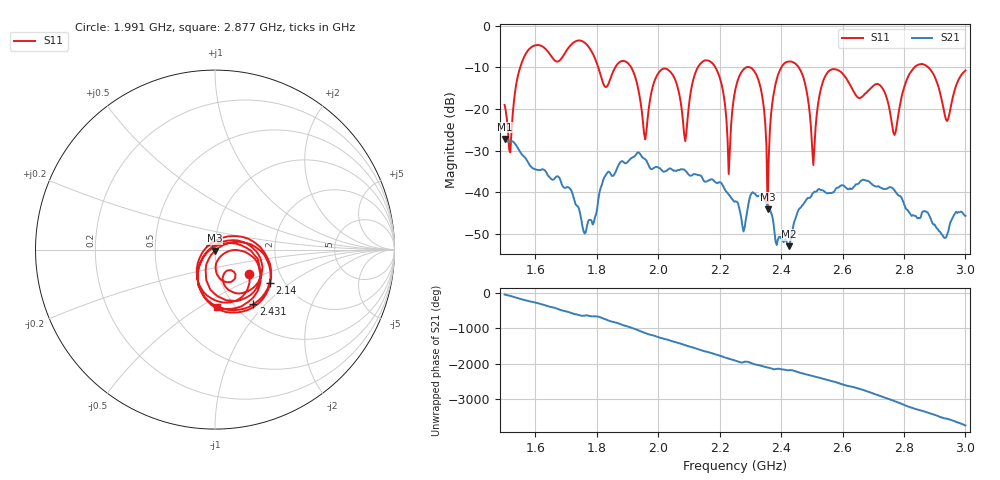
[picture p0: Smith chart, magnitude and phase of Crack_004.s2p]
# HZ S RI R 50
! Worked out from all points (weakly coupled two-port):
!   404 points, 1.5 GHz to 3 GHz, reference 50 ohm
!   highest |S21| = -27.13 dB at 1.5 GHz (marker M1); lowest = -52.9 dB at 2.427 GHz (marker M2)
!   lowest |S11| = -44.1 dB at 2.356 GHz (marker M3), VSWR 1.01, Z = 49.9 - j0.624 ohm
!   |S11| at or under -10 dB: 1.912 GHz to 2.129 GHz (216.8 MHz wide, 10.7 % of centre); 2.458 GHz to 2.834 GHz (376.1 MHz wide, 14.2 % of centre); 2.88 GHz to end of sweep (the widest 3 of 7)
!   S12 and S22 are empty: the file has one direction only
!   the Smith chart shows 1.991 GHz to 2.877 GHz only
!   S11 on the Smith chart (normalised r, x): 1.991 GHz: 1.40, -0.40; 2.14 GHz: 1.69, -0.73; 2.431 GHz: 1.21, -0.86; 2.877 GHz: 0.83, -0.59
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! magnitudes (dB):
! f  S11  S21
! 1.5 GHz  -19.0  -27.1
! 1.519 GHz  -30.4  -27.7
! 1.586 GHz  -5.2  -33.8
! 1.753 GHz  -3.7  -48.1
! 1.909 GHz  -9.7  -32.0
! 1.958 GHz  -27.3  -32.0
! 1.991 GHz  -12.6  -33.9
! 2.002 GHz  -11.1  -34.1
! 2.088 GHz  -27.7  -34.8
! 2.14 GHz  -8.9  -36.1
! 2.23 GHz  -35.6  -40.5
! 2.252 GHz  -15.0  -42.1
! 2.319 GHz  -11.6  -40.7
! 2.356 GHz  -44.1  -43.1
! 2.427 GHz  -8.6  -52.9
! 2.431 GHz  -8.6  -51.6
! 2.501 GHz  -29.3  -40.4
! 2.561 GHz  -10.6  -40.1
! 2.751 GHz  -19.2  -38.8
! 2.877 GHz  -9.9  -44.8
! 2.94 GHz  -22.8  -50.1
! 3 GHz  -10.7  -45.6
